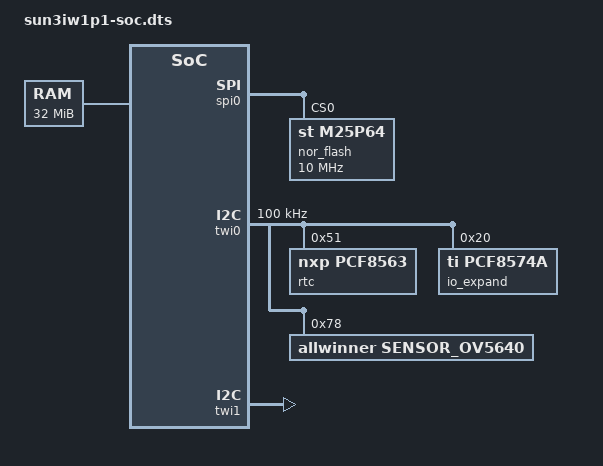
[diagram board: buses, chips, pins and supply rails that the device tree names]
/*
 * Allwinner Technology CO., Ltd. sun3iw1p1 evb board.
 *
 * evb board support.
 */

/dts-v1/;
#include "sun3iw1p1.dtsi"

/ {

  memory@80000000 {
		reg = <0x00000000 0x80000000 0x00000000 0x2000000>;
	};

	soc: soc {
	  spi0: spi@01c05000 {
			interrupts = <10>;
			status = "okay";

			nor_flash@0 {
				#address-cells = <1>;
				#size-cells = <1>;
				compatible = "st,m25p64";
				spi-max-frequency = <10000000>;
				reg = <0>;	/* Chip select 0 */
			};
		};

		twi0: twi@0x01c27000{
			clock-frequency = <100000>;
			status = "okay";

			rtc@0x51 {
				compatible = "nxp,pcf8563";
				i2c-max-frequency = <100000>;
				reg = <0x51>;
			};

			io_expand@0x20 {
				compatible = "ti,pcf8574a";
				i2c-max-frequency = <100000>;
				reg = <0x20>;
			};

			sensor_ov5640@0x78{
				compatible = "allwinner,sensor_ov5640";
				i2c-max-frequency = <100000>;
				reg = <0x78>;
				status = "okay";
			};
		};

		twi1: twi@0x01c27400{
			interrupts = <8>;
			status = "okay";
		};
	};

};
